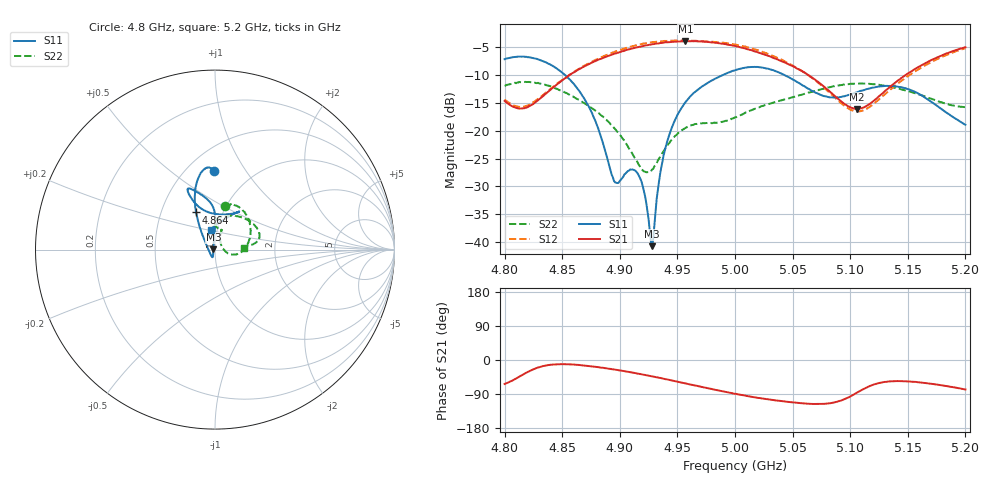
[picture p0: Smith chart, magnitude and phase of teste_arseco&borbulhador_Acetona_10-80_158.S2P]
! Network Analyzer HP8722D
! Hewlett-Packard
! Data name: Linha & Wilkinson
! Saver's name: Rodrigo Anjos
! Comments: Teste da utilização de aquisição
! continua pelo VNA HP8722D
! Time and date: 25/4/2025 16:35
!  Frequency  S11  S21  S12  S22
# HZ  S  MA R 50
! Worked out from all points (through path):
!   401 points, 4.8 GHz to 5.2 GHz, reference 50 ohm
!   highest |S21| = -3.99 dB at 4.957 GHz (marker M1); lowest = -16.1 dB at 5.106 GHz (marker M2)
!   lowest |S11| = -40.7 dB at 4.928 GHz (marker M3), VSWR 1.02, Z = 49.1 + j0.102 ohm
!   |S11| at or under -10 dB: 4.852 GHz to 4.99 GHz (137.9 MHz wide, 2.8 % of centre); 5.042 GHz to end of sweep
!   |S22| runs from -27.5 to -11.3 dB; largest |S21 - S12| = 1.2
!   S11 on the Smith chart (normalised r, x): 4.8 GHz: 0.68, +0.73; 4.864 GHz: 0.75, +0.33; 5.2 GHz: 0.93, +0.21
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4.8e9  0.4354 90.7  0.1841 -63.3  0.1895 70.3  0.2507 77.2
4.82e9  0.4534 96.9  0.162 -31.6  0.1678 99.0  0.2722 61.6
4.844e9  0.3658 107.0  0.2521 -11.4  0.2548 119.2  0.2387 35.1
4.864e9  0.2323 117.0  0.3512 -12.9  0.3544 121.0  0.1899 11.7
4.867e9  0.2092 118.7  0.3655 -13.8  0.3695 120.6  0.1817 8.5
4.88e9  0.1125 129.3  0.4232 -18.5  0.4332 118.1  0.1475 -5.6
4.895e9  0.03533 -175.2  0.4869 -25.1  0.5019 113.6  0.106 -15.6
4.91e9  0.04469 -109.6  0.5395 -32.8  0.5645 107.0  0.06417 -12.9
4.917e9  0.03855 -106.7  0.5623 -36.6  0.5877 103.4  0.04844 0.2
4.921e9  0.02849 -112.1  0.5752 -38.9  0.6018 101.1  0.04307 12.9
4.926e9  0.01265 -141.1  0.5872 -41.8  0.6117 98.1  0.04239 33.8
4.928e9  0.009241 173.5  0.592 -43.1  0.6173 96.9  0.04476 41.9
4.934e9  0.03478 102.2  0.6024 -47.1  0.6284 93.0  0.05609 58.5
4.943e9  0.09198 91.6  0.6193 -52.6  0.6374 87.2  0.07747 68.7
4.957e9  0.1796 89.8  0.632 -61.6  0.6384 78.5  0.1056 71.0
5e9  0.3467 109.1  0.5714 -89.3  0.5897 50.7  0.1312 88.4
5.031e9  0.3524 115.1  0.4579 -104.9  0.4746 33.4  0.1749 84.5
5.067e9  0.2265 105.3  0.2977 -115.8  0.2953 23.7  0.222 56.8
5.106e9  0.2204 64.8  0.1563 -86.0  0.148 56.8  0.263 24.6
5.134e9  0.251 57.5  0.2431 -56.5  0.2286 88.7  0.2476 12.3
5.169e9  0.1857 70.5  0.4195 -62.2  0.4035 84.6  0.1946 6.7
5.2e9  0.1128 101.3  0.5563 -77.8  0.5457 70.0  0.162 3.7
